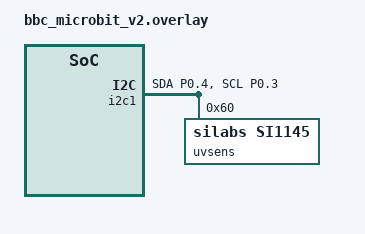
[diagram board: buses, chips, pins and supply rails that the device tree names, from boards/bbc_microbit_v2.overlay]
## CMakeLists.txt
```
# SPDX-License-Identifier: Apache-2.0

cmake_minimum_required(VERSION 3.20.0)


find_package(Zephyr REQUIRED HINTS $ENV{ZEPHYR_BASE})
project(hello_world)

target_sources(app PRIVATE src/main.c)

add_subdirectory(drivers)
```

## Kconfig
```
mainmenu "Si1145 Zephyr Driver Demo"

menu "Si1145 Demo"
rsource "drivers/Kconfig"
endmenu

source "Kconfig.zephyr"

module = APPLICATION_MODULE
module-str = Application module
source "subsys/logging/Kconfig.template.log_config"
```

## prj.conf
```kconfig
CONFIG_STDOUT_CONSOLE=y
CONFIG_I2C=y
CONFIG_SENSOR=y
CONFIG_SI1145=y
CONFIG_LOG=y
```

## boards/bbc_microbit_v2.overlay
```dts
// &i2c0 {
//     uvsens: si1145@60 {
//         compatible = "silabs,si1145";
//         status = "okay";
//         reg = < 0x60 >;
//     };
// };

&i2c1 {
    status = "okay";
    compatible = "nordic,nrf-twim";
    pinctrl-0 = <&i2c1_default>;
	pinctrl-1 = <&i2c1_sleep>;
	pinctrl-names = "default", "sleep";
    uvsens: si1145@60 {
        compatible = "silabs,si1145";
        status = "okay";
        reg = < 0x60 >;
    };
};

&pinctrl {
	i2c1_default: i2c1_default {
		group1 {
			psels = <NRF_PSEL(TWIM_SDA, 0, 4)>,
				<NRF_PSEL(TWIM_SCL, 0, 3)>;
		};
	};

	i2c1_sleep: i2c1_sleep {
		group1 {
			psels = <NRF_PSEL(TWIM_SDA, 0, 4)>,
				<NRF_PSEL(TWIM_SCL, 0, 3)>;
			low-power-enable;
		};
	};

};
```

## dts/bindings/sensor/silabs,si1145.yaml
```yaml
description: Si1145 driver

compatible: "silabs,si1145"

include: [i2c-device.yaml, sensor-device.yaml]
```

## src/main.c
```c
/*
 * Copyright (c) 2012-2014 Wind River Systems, Inc.
 *
 * SPDX-License-Identifier: Apache-2.0
 */

#include <zephyr/kernel.h>
#include <zephyr/device.h>
#include <zephyr/drivers/sensor.h>
#include <zephyr/sys/printk.h>
#include <zephyr/sys/__assert.h>


void main(void) {
	printk("Hello World! %s\n", CONFIG_BOARD);

	// const struct device *const dev = DEVICE_DT_GET_ANY(silabs_si1145);
	const struct device *const dev = DEVICE_DT_GET(DT_NODELABEL(uvsens));
	// const struct device *const dev = DEVICE_DT_GET_ANY(i2c1);
	if (dev == NULL) {
		printk("Failed to get device binding");
		return;
	} else if (!device_is_ready(dev)) {
		printk("Device %s is not ready", dev->name);
		return;
	}

	int err;
	struct sensor_value uv;
	while (1) {
		err = sensor_sample_fetch(dev);
		if (err) {
			printk("Failed to read data from Si1145: %d\n", err);
			return;
		}
		err = sensor_channel_get(dev, SENSOR_CHAN_BLUE, &uv);
		if (err) {
			printk("Unable to get UV data %d\n", err);
			return;
		}

		printk("UV: %d\n", uv.val1);

		k_sleep(K_MSEC(5000));
	}
}
```
